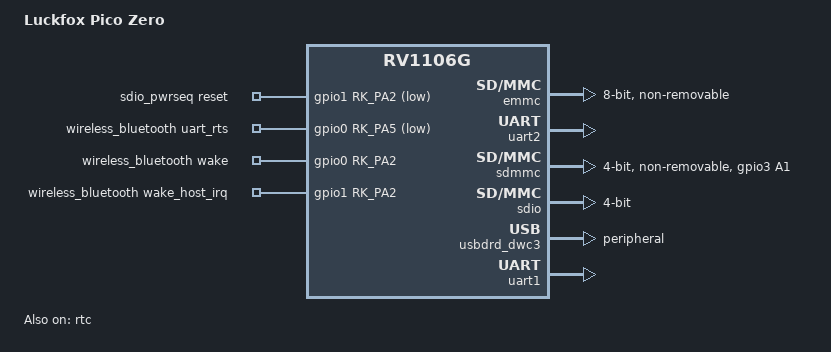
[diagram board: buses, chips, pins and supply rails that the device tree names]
// SPDX-License-Identifier: (GPL-2.0+ OR MIT)
/*
 * Copyright (c) 2022 Rockchip Electronics Co., Ltd.
 */

/dts-v1/;
#include "rv1106.dtsi"
#include <dt-bindings/input/input.h>

/ {
	model = "Luckfox Pico Zero";
	compatible = "luckfox,rv1106g-luckfox-pico-zero", "rockchip,rv1106g3";

	/* TB SPL (CONFIG_SPL_KERNEL_BOOT=y) loads the kernel directly without
	 * running U-Boot proper, so kernel bootargs must come from this node. */
	chosen {
		bootargs = "earlycon=uart8250,mmio32,0xff4c0000 console=ttyS2,1500000n8 loglevel=8 ignore_loglevel root=/dev/mmcblk0p5 rootfstype=squashfs,f2fs rw rootwait rk_dma_heap_cma=66M";
	};

	sdio_pwrseq: sdio-pwrseq {
		compatible = "mmc-pwrseq-simple";
		pinctrl-names = "default";
		reset-gpios = <&gpio1 RK_PA2 GPIO_ACTIVE_LOW>;
	};

	wireless_bluetooth: wireless-bluetooth {
		compatible = "bluetooth-platdata";
		uart_rts_gpios = <&gpio0 RK_PA5 GPIO_ACTIVE_LOW>;
		pinctrl-names = "default", "rts_gpio";
		pinctrl-0 = <&uart1m0_rtsn>;
		pinctrl-1 = <&uart1_gpios>;
		BT,wake_gpio     = <&gpio0 RK_PA2 GPIO_ACTIVE_HIGH>;
		BT,wake_host_irq = <&gpio1 RK_PA2 GPIO_ACTIVE_HIGH>;
		status = "okay";
	};
};

/**********CRU**********/
&cru {
	assigned-clocks =
		<&cru PLL_GPLL>, <&cru PLL_CPLL>,
		<&cru ARMCLK>,
		<&cru ACLK_PERI_ROOT>, <&cru HCLK_PERI_ROOT>,
		<&cru PCLK_PERI_ROOT>, <&cru ACLK_BUS_ROOT>,
		<&cru PCLK_TOP_ROOT>, <&cru PCLK_PMU_ROOT>,
		<&cru HCLK_PMU_ROOT>, <&cru CLK_500M_SRC>;
	assigned-clock-rates =
		<1188000000>, <700000000>,
		<1104000000>,
		<400000000>, <200000000>,
		<100000000>, <300000000>,
		<100000000>, <100000000>,
		<200000000>, <700000000>;
};

/**********EMMC**********/
&emmc {
	bus-width = <8>;
	cap-mmc-highspeed;
	non-removable;
	rockchip,default-sample-phase = <90>;
	no-sdio;
	no-sd;
	post-power-on-delay-ms = <0>;
	status = "okay";
};

&fiq_debugger {
	rockchip,irq-mode-enable = <1>;
	status = "disabled";
};

/* uart2 (8250) is the console — fiq-debugger has no upstream driver. uart2
 * must be explicitly enabled so the 8250 driver claims its clock before
 * clk_disable_unused() runs. */
&uart2 {
	status = "okay";
};

/**********SDIO-WIFI**********/
&sdmmc {
	max-frequency = <50000000>;
	bus-width = <4>;
	cap-sd-highspeed;
	cap-sdio-irq;
	keep-power-in-suspend;
	non-removable;
	rockchip,default-sample-phase = <90>;
	supports-sdio;
	mmc-pwrseq = <&sdio_pwrseq>;
	pinctrl-names = "default";
	pinctrl-0 = <&sdmmc0_clk &sdmmc0_cmd &sdmmc0_bus4 &sdmmc0_det>;
	status = "okay";
};

&pinctrl {
	sdmmc0 {
		sdmmc0_det: sdmmc0-det {
			rockchip,pins =
				/* sdmmc0_det */
				<3 RK_PA1 1 &pcfg_pull_up>;
		};
	};
};

/**********SD_CARD**********/
&sdio {
	max-frequency = <50000000>;
	no-sdio;
	no-mmc;
	supports-sd;
	bus-width = <4>;
	cap-mmc-highspeed;
	cap-sd-highspeed;
	disable-wp;
	pinctrl-names = "default";
	pinctrl-0 = <&sdmmc1m0_cmd &sdmmc1m0_clk &sdmmc1m0_bus4>;
	status = "okay";
};

/**********ETH**********/
&gmac {
	status = "disabled";
};

/**********USB**********/
&usbdrd_dwc3 {
	status = "okay";
	dr_mode = "peripheral";
};

/**********RTC**********/
&rtc {
	status = "okay";
};

/**********BT**********/
&uart1 {
	status = "okay";
	pinctrl-names = "default";
	pinctrl-0 = <&uart1m0_xfer &uart1m0_ctsn>;
};

&pinctrl {
	wireless-bluetooth {
		uart1_gpios: uart1-gpios {
			rockchip,pins = <0 RK_PA5 RK_FUNC_GPIO &pcfg_pull_none>;
		};
	};
};

/**********SPI**********/
&spi0 {
	status = "disabled";
	spidev@0 {
		spi-max-frequency = <50000000>;
	};
};
